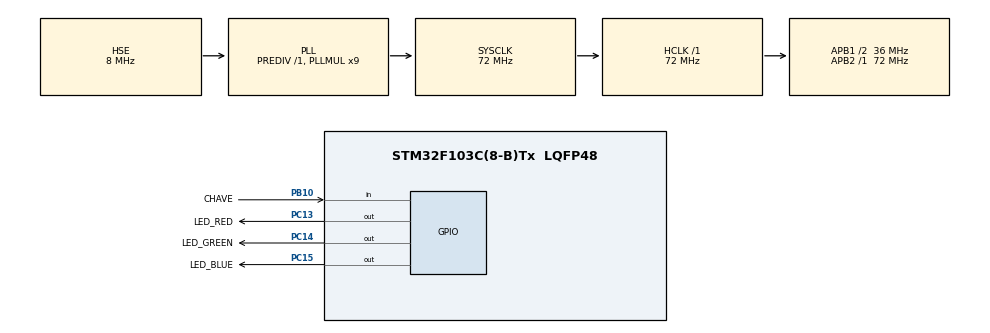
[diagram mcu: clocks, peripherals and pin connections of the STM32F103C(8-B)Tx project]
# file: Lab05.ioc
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Mcu.Family=STM32F1
Mcu.Name=STM32F103C(8-B)Tx
Mcu.Package=LQFP48
NVIC.PriorityGroup=NVIC_PRIORITYGROUP_4
PA13.Mode=Serial_Wire
PA13.Signal=SYS_JTMS-SWDIO
PA14.Mode=Serial_Wire
PA14.Signal=SYS_JTCK-SWCLK
PB10.GPIO_Label=CHAVE
PB10.GPIO_PuPd=GPIO_PULLDOWN
PB10.Signal=GPIO_Input
PC13-TAMPER-RTC.GPIO_Label=LED_RED
PC13-TAMPER-RTC.GPIO_Speed=GPIO_SPEED_FREQ_HIGH
PC13-TAMPER-RTC.Signal=GPIO_Output
PC14-OSC32_IN.GPIO_Label=LED_GREEN
PC14-OSC32_IN.Signal=GPIO_Output
PC15-OSC32_OUT.GPIO_Label=LED_BLUE
PC15-OSC32_OUT.Signal=GPIO_Output
PD0-OSC_IN.Mode=HSE-External-Oscillator
PD0-OSC_IN.Signal=RCC_OSC_IN
PD1-OSC_OUT.Mode=HSE-External-Oscillator
PD1-OSC_OUT.Signal=RCC_OSC_OUT
ProjectManager.HeapSize=0x200
ProjectManager.StackSize=0x400
ProjectManager.TargetToolchain=STM32CubeIDE
RCC.AHBFreq_Value=72000000
RCC.APB1CLKDivider=RCC_HCLK_DIV2
RCC.APB1Freq_Value=36000000
RCC.APB1TimFreq_Value=72000000
RCC.APB2Freq_Value=72000000
RCC.APB2TimFreq_Value=72000000
RCC.HCLKFreq_Value=72000000
RCC.PLLMUL=RCC_PLL_MUL9
RCC.PLLSourceVirtual=RCC_PLLSOURCE_HSE
RCC.SYSCLKFreq_VALUE=72000000
RCC.SYSCLKSource=RCC_SYSCLKSOURCE_PLLCLK
RCC.USBFreq_Value=72000000
TIM1.AutoReloadPreload=TIM_AUTORELOAD_PRELOAD_ENABLE
TIM1.Period=5000-1
TIM1.Prescaler=7200-1
VP_TIM1_VS_ClockSourceINT.Mode=Internal
board=custom

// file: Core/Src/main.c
/* USER CODE BEGIN Header */
/**
  ******************************************************************************
  * @file           : main.c
  * @brief          : Main program body
  ******************************************************************************
  * @attention
  *
  * Copyright (c) 2023 STMicroelectronics.
  * All rights reserved.
  *
  * This software is licensed under terms that can be found in the LICENSE file
  * in the root directory of this software component.
  * If no LICENSE file comes with this software, it is provided AS-IS.
  *
  ******************************************************************************
  */
/* USER CODE END Header */
#include "main.h"

TIM_HandleTypeDef htim1;

void SystemClock_Config(void);
static void MX_GPIO_Init(void);
static void MX_TIM1_Init(void);

int main(void)
{

  /* MCU Configuration--------------------------------------------------------*/

  /* Reset of all peripherals, Initializes the Flash interface and the Systick. */
  HAL_Init();

  /* Configure the system clock */
  SystemClock_Config();

  /* Initialize all configured peripherals */
  MX_GPIO_Init();
  MX_TIM1_Init();
  /* USER CODE BEGIN 2 */
  HAL_TIM_Base_Start(&htim1);

  /* USER CODE END 2 */

  /* Infinite loop */
  /* USER CODE BEGIN WHILE */
  while (1)
  {
	  if (__HAL_TIM_GET_FLAG(&htim1, TIM_FLAG_UPDATE))
	      {
	          __HAL_TIM_CLEAR_FLAG(&htim1, TIM_FLAG_UPDATE);
	          // Ler o estado da chave a cada 500ms
	          static uint16_t chaveReadCounter = 0;
	          if (chaveReadCounter >= 5) // 5 * 100ms = 500ms
	          {
	              chaveReadCounter = 0;
	              uint8_t status = HAL_GPIO_ReadPin(GPIOB, CHAVE_Pin);

	              if (status == 0)
	              {
	                  // Toggle LED a cada 100ms se a chave estiver pressionada
	                  static uint16_t ledToggleCounter = 0;
	                  if (ledToggleCounter >= 1) // 1 * 100ms = 100ms
	                  {
	                      ledToggleCounter = 0;
	                      HAL_GPIO_TogglePin(GPIOC, LED_RED_Pin | LED_GREEN_Pin | LED_BLUE_Pin);
	                  }
	                  else
	                  {
	                      ledToggleCounter++;
	                  }
	              }
	          }
	          else
	          {
	              chaveReadCounter++;
	          }
	      }
    /* USER CODE END WHILE */

  }
}

void SystemClock_Config(void)
{
  RCC_OscInitTypeDef RCC_OscInitStruct = {0};
  RCC_ClkInitTypeDef RCC_ClkInitStruct = {0};

  /** Initializes the RCC Oscillators according to the specified parameters
  * in the RCC_OscInitTypeDef structure.
  */
  RCC_OscInitStruct.OscillatorType = RCC_OSCILLATORTYPE_HSE;
  RCC_OscInitStruct.HSEState = RCC_HSE_ON;
  RCC_OscInitStruct.HSEPredivValue = RCC_HSE_PREDIV_DIV1;
  RCC_OscInitStruct.HSIState = RCC_HSI_ON;
  RCC_OscInitStruct.PLL.PLLState = RCC_PLL_ON;
  RCC_OscInitStruct.PLL.PLLSource = RCC_PLLSOURCE_HSE;
  RCC_OscInitStruct.PLL.PLLMUL = RCC_PLL_MUL9;
  if (HAL_RCC_OscConfig(&RCC_OscInitStruct) != HAL_OK)
  {
    Error_Handler();
  }

  /** Initializes the CPU, AHB and APB buses clocks
  */
  RCC_ClkInitStruct.ClockType = RCC_CLOCKTYPE_HCLK|RCC_CLOCKTYPE_SYSCLK
                              |RCC_CLOCKTYPE_PCLK1|RCC_CLOCKTYPE_PCLK2;
  RCC_ClkInitStruct.SYSCLKSource = RCC_SYSCLKSOURCE_PLLCLK;
  RCC_ClkInitStruct.AHBCLKDivider = RCC_SYSCLK_DIV1;
  RCC_ClkInitStruct.APB1CLKDivider = RCC_HCLK_DIV2;
  RCC_ClkInitStruct.APB2CLKDivider = RCC_HCLK_DIV1;

  if (HAL_RCC_ClockConfig(&RCC_ClkInitStruct, FLASH_LATENCY_2) != HAL_OK)
  {
    Error_Handler();
  }
}

static void MX_TIM1_Init(void)
{

  TIM_ClockConfigTypeDef sClockSourceConfig = {0};
  TIM_MasterConfigTypeDef sMasterConfig = {0};

  htim1.Instance = TIM1;
  htim1.Init.Prescaler = 7200-1;
  htim1.Init.CounterMode = TIM_COUNTERMODE_UP;
  htim1.Init.Period = 5000-1;
  htim1.Init.ClockDivision = TIM_CLOCKDIVISION_DIV1;
  htim1.Init.RepetitionCounter = 0;
  htim1.Init.AutoReloadPreload = TIM_AUTORELOAD_PRELOAD_ENABLE;
  if (HAL_TIM_Base_Init(&htim1) != HAL_OK)
  {
    Error_Handler();
  }
  sClockSourceConfig.ClockSource = TIM_CLOCKSOURCE_INTERNAL;
  if (HAL_TIM_ConfigClockSource(&htim1, &sClockSourceConfig) != HAL_OK)
  {
    Error_Handler();
  }
  sMasterConfig.MasterOutputTrigger = TIM_TRGO_RESET;
  sMasterConfig.MasterSlaveMode = TIM_MASTERSLAVEMODE_DISABLE;
  if (HAL_TIMEx_MasterConfigSynchronization(&htim1, &sMasterConfig) != HAL_OK)
  {
    Error_Handler();
  }

}

static void MX_GPIO_Init(void)
{
  GPIO_InitTypeDef GPIO_InitStruct = {0};

  /* GPIO Ports Clock Enable */
  __HAL_RCC_GPIOC_CLK_ENABLE();
  __HAL_RCC_GPIOD_CLK_ENABLE();
  __HAL_RCC_GPIOB_CLK_ENABLE();
  __HAL_RCC_GPIOA_CLK_ENABLE();

  /*Configure GPIO pin Output Level */
  HAL_GPIO_WritePin(GPIOC, LED_RED_Pin|LED_GREEN_Pin|LED_BLUE_Pin, GPIO_PIN_RESET);

  /*Configure GPIO pin : LED_RED_Pin */
  GPIO_InitStruct.Pin = LED_RED_Pin;
  GPIO_InitStruct.Mode = GPIO_MODE_OUTPUT_PP;
  GPIO_InitStruct.Pull = GPIO_NOPULL;
  GPIO_InitStruct.Speed = GPIO_SPEED_FREQ_HIGH;
  HAL_GPIO_Init(LED_RED_GPIO_Port, &GPIO_InitStruct);

  /*Configure GPIO pins : LED_GREEN_Pin LED_BLUE_Pin */
  GPIO_InitStruct.Pin = LED_GREEN_Pin|LED_BLUE_Pin;
  GPIO_InitStruct.Mode = GPIO_MODE_OUTPUT_PP;
  GPIO_InitStruct.Pull = GPIO_NOPULL;
  GPIO_InitStruct.Speed = GPIO_SPEED_FREQ_LOW;
  HAL_GPIO_Init(GPIOC, &GPIO_InitStruct);

  /*Configure GPIO pin : CHAVE_Pin */
  GPIO_InitStruct.Pin = CHAVE_Pin;
  GPIO_InitStruct.Mode = GPIO_MODE_INPUT;
  GPIO_InitStruct.Pull = GPIO_PULLUP;
  HAL_GPIO_Init(CHAVE_GPIO_Port, &GPIO_InitStruct);

}

void Error_Handler(void)
{
  __disable_irq();
  while (1)
  {
  }
}
